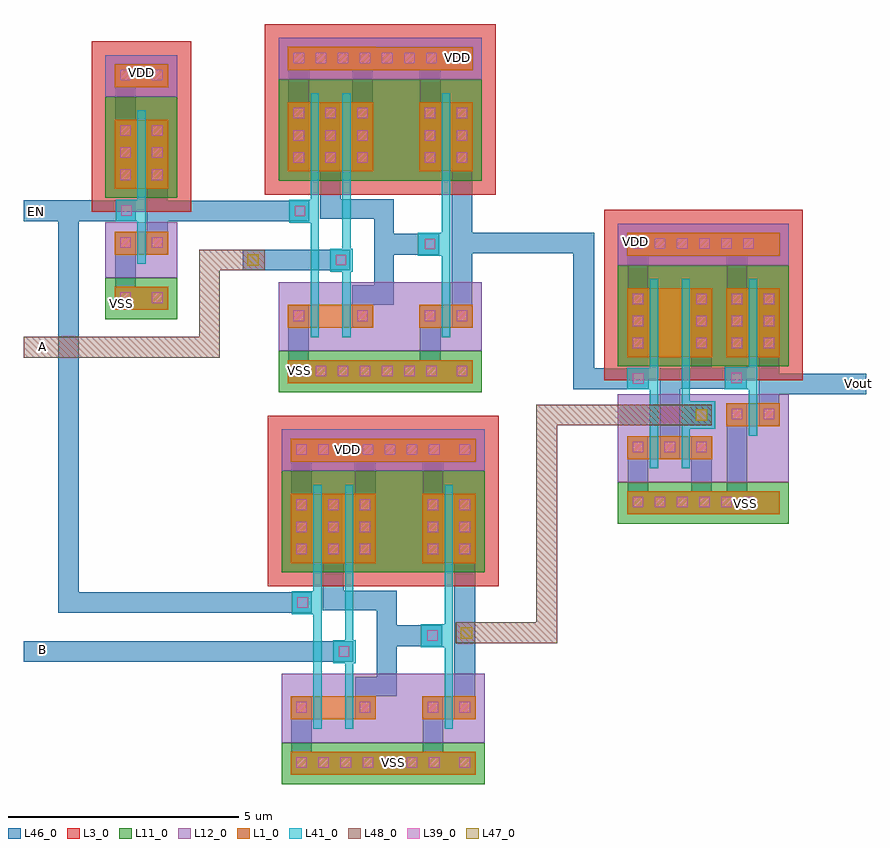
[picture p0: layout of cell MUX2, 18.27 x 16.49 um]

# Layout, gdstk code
import gdstk
lib = gdstk.Library(unit=1e-6, precision=1e-09)
def R(c, l, rs):  # rectangles x0, y0, x1, y1
    for r in rs: c.add(gdstk.rectangle(r[:2], r[2:], *l))
def A(c, l, x, y, w, h, nx, ny, dx, dy):  # array of equal rectangles
    R(c, l, [(x+i*dx, y+j*dy, x+i*dx+w, y+j*dy+h) for i in range(nx) for j in range(ny)])
def P(c, l, *ps):  # polygons
    for p in ps: c.add(gdstk.Polygon(p, *l))
L1_0 = (1, 0)
L3_0 = (3, 0)
L11_0 = (11, 0)
L12_0 = (12, 0)
L39_0 = (39, 0)
L41_0 = (41, 0)
L46_0 = (46, 0)
L47_0 = (47, 0)
L48_0 = (48, 0)

mux2 = lib.new_cell('MUX2')
R(mux2, L1_0, [(5.79,0.2,7.7,0.7), (8.64,0.2,9.8,0.7), (5.79,1.4,7.64,1.9), (8.64,1.4,9.8,1.9), (5.79,4.795,7.64,6.295), (8.64,4.795,9.8,6.295), (13.09,5.85,16.4,6.35), (8.64,6.995,9.8,7.495), (5.79,6.996,7.7,7.496), (13.09,7.05,14.94,7.55), (15.24,7.76,16.4,8.26), (5.73,8.695,7.64,9.195), (8.58,8.695,9.74,9.195), (13.09,9.26,14.94,10.76), (15.24,9.26,16.4,10.76), (5.73,9.895,7.58,10.395), (8.58,9.895,9.74,10.395), (1.97,10.285,3.13,10.785), (13.09,11.461,16.4,11.961), (1.97,11.485,3.13,11.985), (1.97,12.915,3.13,14.415), (5.73,13.29,7.58,14.79), (8.58,13.29,9.74,14.79), (1.97,15.115,3.13,15.615), (8.58,15.49,9.74,15.99), (5.73,15.491,7.64,15.991)])
R(mux2, L3_0, [(5.29,4.295,10.3,7.995), (12.59,8.76,16.9,12.46), (1.47,12.415,3.63,16.115), (5.23,12.79,10.24,16.49)])
R(mux2, L11_0, [(5.59,0,10,0.9), (5.59,4.595,10,6.795), (12.89,5.65,16.6,6.55), (5.53,8.495,9.94,9.395), (12.89,9.06,16.6,11.26), (1.77,10.085,3.33,10.985), (1.77,12.715,3.33,14.915), (5.53,13.09,9.94,15.29)])
R(mux2, L12_0, [(5.59,0.9,10,2.395), (12.89,6.55,16.6,8.46), (5.59,6.795,10,7.695), (5.53,9.395,9.94,10.89), (1.77,10.985,3.33,12.185), (12.89,11.26,16.6,12.16), (1.77,14.915,3.33,15.815), (5.53,15.29,9.94,16.19)])
A(mux2, L39_0, 5.91, 0.35, 0.23, 0.23, 7, 1, 0.48, 0)
A(mux2, L39_0, 5.91, 4.985, 0.23, 0.23, 3, 3, 0.69, 0.48)
A(mux2, L39_0, 8.76, 4.985, 0.23, 0.23, 1, 3, 0, 0.48)
A(mux2, L39_0, 9.45, 4.985, 0.23, 0.23, 1, 3, 0, 0.48)
A(mux2, L39_0, 13.21, 6, 0.23, 0.23, 6, 2, 0.48, 5.611)
A(mux2, L39_0, 7.83, 7.145, 0.23, 0.23, 3, 1, 0.48, 0)
A(mux2, L39_0, 5.91, 7.146, 0.23, 0.23, 4, 1, 0.48, 0)
A(mux2, L39_0, 13.21, 7.2, 0.23, 0.23, 3, 1, 0.69, 0)
A(mux2, L39_0, 5.85, 8.845, 0.23, 0.23, 7, 1, 0.48, 0)
A(mux2, L39_0, 13.21, 9.45, 0.23, 0.23, 1, 3, 0, 0.48)
A(mux2, L39_0, 14.59, 9.45, 0.23, 0.23, 1, 3, 0, 0.48)
A(mux2, L39_0, 15.36, 9.45, 0.23, 0.23, 1, 3, 0, 0.48)
A(mux2, L39_0, 16.05, 9.45, 0.23, 0.23, 1, 3, 0, 0.48)
A(mux2, L39_0, 2.09, 13.105, 0.23, 0.23, 1, 3, 0, 0.48)
A(mux2, L39_0, 2.78, 13.105, 0.23, 0.23, 1, 3, 0, 0.48)
A(mux2, L39_0, 5.85, 13.48, 0.23, 0.23, 3, 3, 0.69, 0.48)
A(mux2, L39_0, 8.7, 13.48, 0.23, 0.23, 1, 3, 0, 0.48)
A(mux2, L39_0, 9.39, 13.48, 0.23, 0.23, 1, 3, 0, 0.48)
A(mux2, L39_0, 7.77, 15.64, 0.23, 0.23, 3, 1, 0.48, 0)
A(mux2, L39_0, 5.85, 15.641, 0.23, 0.23, 4, 1, 0.48, 0)
R(mux2, L39_0, [(9.45,0.35,9.68,0.58), (5.91,1.55,6.14,1.78), (7.29,1.55,7.52,1.78), (8.76,1.55,8.99,1.78), (9.45,1.55,9.68,1.78), (6.83,2.76,7.06,2.99), (8.755,3.11,8.985,3.34), (5.935,3.825,6.165,4.055), (9.45,7.145,9.68,7.375), (14.59,7.89,14.82,8.12), (15.36,7.91,15.59,8.14), (16.05,7.91,16.28,8.14), (13.215,8.68,13.445,8.91), (15.345,8.69,15.575,8.92), (9.39,8.845,9.62,9.075), (5.85,10.045,6.08,10.275), (7.23,10.045,7.46,10.275), (8.7,10.045,8.93,10.275), (9.39,10.045,9.62,10.275), (2.09,10.435,2.32,10.665), (2.78,10.435,3.01,10.665), (6.77,11.255,7,11.485), (8.695,11.605,8.925,11.835), (2.09,11.635,2.32,11.865), (2.78,11.635,3.01,11.865), (5.875,12.32,6.105,12.55), (2.11,12.325,2.34,12.555), (2.09,15.265,2.32,15.495), (2.78,15.265,3.01,15.495), (9.39,15.64,9.62,15.87)])
R(mux2, L41_0, [(6.28,1.2,6.46,6.495), (6.97,1.2,7.15,6.495), (9.13,1.2,9.31,6.495), (6.71,2.615,7.2,3.12), (8.61,2.965,9.165,3.47), (5.815,3.68,6.305,4.185), (14.405,7.705,15.005,8.305), (6.22,9.695,6.4,14.99), (6.91,9.695,7.09,14.99), (9.07,9.695,9.25,14.99), (6.65,11.11,7.14,11.615), (8.55,11.46,9.105,11.965), (5.755,12.175,6.245,12.68)])
P(mux2, L41_0, [(2.46,11.285),(2.46,12.205),(1.99,12.205),(1.99,12.675),(2.46,12.675),(2.46,14.615),(2.64,14.615),(2.64,11.285)],
  [(15.73,7.56),(15.73,8.57),(15.205,8.57),(15.205,9.04),(15.73,9.04),(15.73,10.96),(15.91,10.96),(15.91,7.56)],
  [(13.58,6.85),(13.58,8.56),(13.095,8.56),(13.095,9.03),(13.58,9.03),(13.58,10.96),(13.76,10.96),(13.76,6.85)],
  [(14.27,6.85),(14.27,10.96),(14.45,10.96),(14.45,8.25),(15.005,8.25),(15.005,7.78),(14.45,7.78),(14.45,6.85)])
R(mux2, L46_0, [(8.65,0.21,9.1,1.89), (7.19,1.41,7.63,1.902), (9.34,1.41,9.79,6.285), (8.63,2.99,9.075,3.44), (6.49,4.805,6.91,6.285), (8.65,4.805,9.1,7.485), (13.1,5.86,13.55,7.54), (13.1,5.86,16.39,6.34), (14.48,5.86,14.93,7.54), (15.25,5.86,15.7,8.25), (13.795,7.06,14.24,9.02), (15.94,7.77,16.39,10.75), (14.48,7.78,14.93,8.23), (12.15,8.57,13.555,9.02), (13.795,8.58,14.93,9.02), (14.58,8.58,15.69,9.03), (8.59,8.705,9.04,10.385), (14.48,8.705,14.93,10.75), (13.1,9.27,13.55,10.75), (15.25,9.27,15.7,11.95), (7.13,9.905,7.57,10.397), (9.28,9.905,9.73,14.78), (1.98,10.295,2.43,11.975), (1.98,10.295,3.12,10.775), (13.1,10.395,13.55,11.951), (13.1,11.471,16.39,11.951), (8.57,11.485,9.015,11.935), (2.67,11.495,3.12,14.405), (1.33,12.215,2.43,12.665), (1.98,12.925,2.43,15.605), (6.43,13.3,6.85,14.78), (8.59,13.3,9.04,15.98), (1.98,15.125,3.12,15.605)])
P(mux2, L46_0, [(5.8,4.805),(5.8,7.485),(9.79,7.485),(9.79,7.005),(7.63,7.005),(7.63,4.805),(7.18,4.805),(7.18,7.005),(6.25,7.005),(6.25,4.805)],
  [(5.8,0.21),(5.8,1.89),(6.245,1.89),(6.245,0.69),(9.79,0.69),(9.79,0.21)],
  [(5.74,13.3),(5.74,15.98),(9.73,15.98),(9.73,15.5),(7.57,15.5),(7.57,13.3),(7.12,13.3),(7.12,15.5),(6.19,15.5),(6.19,13.3)],
  [(5.74,8.705),(5.74,10.385),(6.185,10.385),(6.185,9.185),(9.73,9.185),(9.73,8.705)])
R(mux2, L47_0, [(9.475,3.155,9.725,3.405), (14.58,7.88,14.83,8.13), (4.845,11.245,5.095,11.495)])
R(mux2, L48_0, [(12.125,7.78,14.93,8.23)])
mux2.add(gdstk.FlexPath([(7.665,7.245),(8.64,7.245)], 0.5, ends="flush", simple_path=True, layer=1, datatype=0))  # L1_0
mux2.add(gdstk.FlexPath([(7.7,0.45),(8.66,0.45)], 0.5, ends="flush", simple_path=True, layer=1, datatype=0))  # L1_0
mux2.add(gdstk.FlexPath([(7.605,15.74),(8.58,15.74)], 0.5, ends="flush", simple_path=True, layer=1, datatype=0))  # L1_0
mux2.add(gdstk.FlexPath([(7.64,8.945),(8.6,8.945)], 0.5, ends="flush", simple_path=True, layer=1, datatype=0))  # L1_0
mux2.add(gdstk.FlexPath([(8.005,3.215),(8.63,3.215)], 0.45, ends="flush", simple_path=True, layer=46, datatype=0))  # L46_0
mux2.add(gdstk.FlexPath([(4.805,2.875),(7.145,2.875)], 0.45, ends="flush", simple_path=True, layer=46, datatype=0))  # L46_0
mux2.add(gdstk.FlexPath([(4.69,3.94),(6.25,3.94)], 0.45, ends="flush", simple_path=True, layer=46, datatype=0))  # L46_0
mux2.add(gdstk.FlexPath([(6.715,3.975),(6.715,4.805)], 0.45, ends="flush", simple_path=True, layer=46, datatype=0))  # L46_0
mux2.add(gdstk.FlexPath([(7.875,1.902),(7.875,3.98),(6.49,3.98)], 0.426, ends="flush", simple_path=True, layer=46, datatype=0))  # L46_0
mux2.add(gdstk.FlexPath([(7.403,1.89),(7.403,2.115),(7.858,2.115)], 0.426, ends="flush", simple_path=True, layer=46, datatype=0))  # L46_0
mux2.add(gdstk.FlexPath([(7.945,11.71),(8.57,11.71)], 0.45, ends="flush", simple_path=True, layer=46, datatype=0))  # L46_0
mux2.add(gdstk.FlexPath([(4.745,11.37),(7.085,11.37)], 0.45, ends="flush", simple_path=True, layer=46, datatype=0))  # L46_0
mux2.add(gdstk.FlexPath([(4.63,12.435),(6.19,12.435)], 0.45, ends="flush", simple_path=True, layer=46, datatype=0))  # L46_0
mux2.add(gdstk.FlexPath([(6.655,12.47),(6.655,13.3)], 0.45, ends="flush", simple_path=True, layer=46, datatype=0))  # L46_0
mux2.add(gdstk.FlexPath([(7.815,10.397),(7.815,12.475),(6.43,12.475)], 0.426, ends="flush", simple_path=True, layer=46, datatype=0))  # L46_0
mux2.add(gdstk.FlexPath([(7.343,10.385),(7.343,10.61),(7.798,10.61)], 0.426, ends="flush", simple_path=True, layer=46, datatype=0))  # L46_0
mux2.add(gdstk.FlexPath([(16.29,8.68),(18.275,8.68)], 0.45, ends="flush", simple_path=True, layer=46, datatype=0))  # L46_0
mux2.add(gdstk.FlexPath([(4.78,3.94),(0.97,3.94),(0.97,12.31)], 0.45, ends="flush", simple_path=True, layer=46, datatype=0))  # L46_0
mux2.add(gdstk.FlexPath([(12.15,8.57),(12.15,11.74),(9.625,11.74)], 0.45, ends="flush", simple_path=True, layer=46, datatype=0))  # L46_0
mux2.add(gdstk.FlexPath([(0,12.44),(1.985,12.44)], 0.45, ends="flush", simple_path=True, layer=46, datatype=0))  # L46_0
mux2.add(gdstk.FlexPath([(0,2.875),(4.805,2.875)], 0.45, ends="flush", simple_path=True, layer=46, datatype=0))  # L46_0
mux2.add(gdstk.FlexPath([(3,12.435),(4.795,12.435)], 0.45, ends="flush", simple_path=True, layer=46, datatype=0))  # L46_0
mux2.add(gdstk.FlexPath([(4.025,11.595),(4.025,9.475),(0,9.475)], 0.45, ends="flush", simple_path=True, layer=48, datatype=0))  # L48_0
mux2.add(gdstk.FlexPath([(12.125,8.005),(11.345,8.005),(11.345,3.28),(9.375,3.28)], 0.45, ends="flush", simple_path=True, layer=48, datatype=0))  # L48_0
mux2.add(gdstk.FlexPath([(4.745,11.37),(5.225,11.37)], 0.45, ends="flush", simple_path=True, layer=48, datatype=0))  # L48_0
mux2.add(gdstk.FlexPath([(4.025,11.37),(4.745,11.37)], 0.45, ends="flush", simple_path=True, layer=48, datatype=0))  # L48_0
mux2.add(gdstk.Label('VSS', (2.11,10.435), layer=101, texttype=0))
mux2.add(gdstk.Label('VDD', (9.4,15.77), layer=101, texttype=0))
mux2.add(gdstk.Label('VSS', (5.98,8.965), layer=101, texttype=0))
mux2.add(gdstk.Label('VDD', (13.26,11.76), layer=101, texttype=0))
mux2.add(gdstk.Label('VSS', (15.665,6.095), layer=101, texttype=0))
mux2.add(gdstk.Label('VDD', (7.015,7.255), layer=101, texttype=0))
mux2.add(gdstk.Label('VSS', (8.015,0.47), layer=101, texttype=0))
mux2.add(gdstk.Label('VDD', (2.555,15.43), layer=101, texttype=0))
mux2.add(gdstk.Label('EN', (0.275,12.43), layer=101, texttype=0))
mux2.add(gdstk.Label('Vout', (18.12,8.685), layer=101, texttype=0))
mux2.add(gdstk.Label('B', (0.4,2.915), layer=101, texttype=0))
mux2.add(gdstk.Label('A', (0.395,9.485), layer=102, texttype=0))

lib.write_gds('MUX2.gds')
